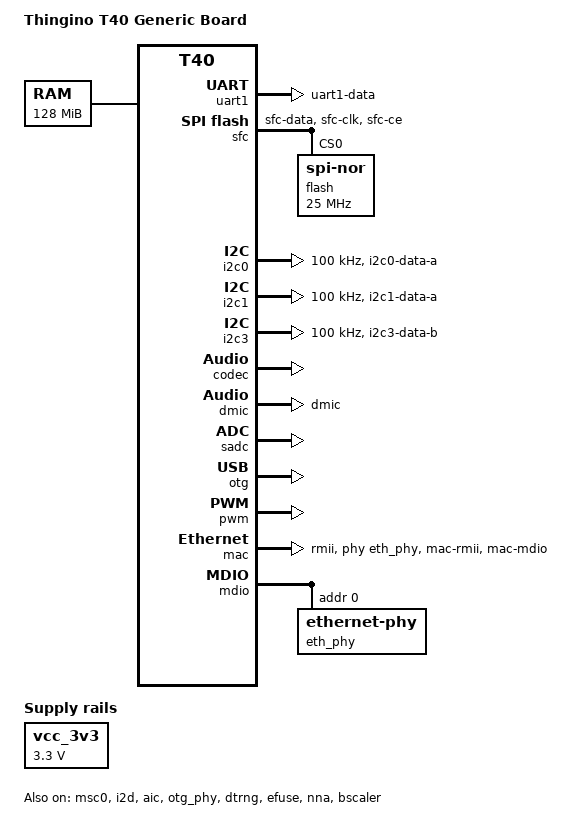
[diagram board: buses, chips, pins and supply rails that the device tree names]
// SPDX-License-Identifier: GPL-2.0
/dts-v1/;

#include "t40.dtsi"

/ {
	compatible = "thingino,t40", "ingenic,t40";
	model = "Thingino T40 Generic Board";

	aliases {
		i2c0 = &i2c0;
		i2c1 = &i2c1;
		i2c3 = &i2c3;
		mmc0 = &msc0;
		mmc1 = &msc1;
		serial1 = &uart1;
	};

	chosen {
		stdout-path = "serial1:115200n8";
	};

	/* the smallest RAM a T40 comes with; the boot loader's mem= has the real map */
	memory@0 {
		device_type = "memory";
		reg = <0x0 0x8000000>;
	};

	/* the 3.3 V rail of the USB PHY */
	vcc_3v3: regulator-3v3 {
		compatible = "regulator-fixed";
		regulator-name = "vcc-3v3";
		regulator-min-microvolt = <3300000>;
		regulator-max-microvolt = <3300000>;
		regulator-always-on;
	};

	/*
	 * The media memory of the out-of-tree camera stack, where thingino's
	 * U-Boot puts it on this RAM size; its rmem= places and enables it
	 */
	reserved-memory {
		#address-cells = <1>;
		#size-cells = <1>;
		ranges;

		rmem: rmem@4000000 {
			reg = <0x4000000 0x4000000>;
			no-map;
			status = "disabled";
		};

		/* the NNA's memory, where nmem= puts it */
		nmem: nmem@7000000 {
			reg = <0x7000000 0x1000000>;
			no-map;
			status = "disabled";
		};
	};
};

&exclk {
	clock-frequency = <24000000>;
};

&uart1 {
	status = "okay";

	pinctrl-names = "default";
	pinctrl-0 = <&pins_uart1>;
};

&sfc {
	status = "okay";

	pinctrl-names = "default";
	pinctrl-0 = <&pins_sfc>;

	/* partitions come from the mtdparts= the boot loader passes */
	flash@0 {
		compatible = "jedec,spi-nor";
		reg = <0>;
		spi-max-frequency = <25000000>;
	};
};

&msc0 {
	status = "okay";
	bus-width = <4>;
	max-frequency = <25000000>;
	broken-cd;
	no-1-8-v;

	pinctrl-names = "default";
	pinctrl-0 = <&pins_mmc0>;
};

/* The SDIO Wi-Fi sits on MSC1 (PB17 to PB22); enable it with its power sequence */
&msc1 {
	status = "disabled";
	bus-width = <4>;
	max-frequency = <25000000>;
	non-removable;
	no-1-8-v;

	pinctrl-names = "default";
	pinctrl-0 = <&pins_mmc1>, <&pins_mmc1_c_idle>;
};

&i2c0 {
	status = "okay";
	clock-frequency = <100000>;

	pinctrl-names = "default";
	pinctrl-0 = <&pins_i2c0>;
};

&i2c1 {
	status = "okay";
	clock-frequency = <100000>;

	pinctrl-names = "default";
	pinctrl-0 = <&pins_i2c1>;
};

&i2c3 {
	status = "okay";
	clock-frequency = <100000>;

	pinctrl-names = "default";
	pinctrl-0 = <&pins_i2c3>;
};

&isp {
	/* consumed by the out-of-tree ISP modules, not bound by a driver */
	pinctrl-names = "default";
	pinctrl-0 = <&pins_cim_mclk>;

	memory-region = <&rmem>;
};

&i2d {
	/* /dev/i2d (libimp rotation), bound by the out-of-tree i2d module */
	status = "okay";
};

&aic {
	status = "okay";
};

&codec {
	status = "okay";
};

/* left disabled: a profile with a DMIC enables it, the pins may be GPIOs elsewhere */
&dmic {
	pinctrl-names = "default";
	pinctrl-0 = <&pins_dmic>;
};

&sadc {
	status = "okay";
};

&otg_phy {
	status = "okay";

	vcc-supply = <&vcc_3v3>;
};

&otg {
	status = "okay";
	disable-over-current;
};

&dtrng {
	status = "okay";
};

/* The pins stay in GPIO mode until a board user selects a PWM pin group */
&pwm {
	status = "okay";
};

&efuse {
	status = "okay";
};

&mac {
	status = "okay";

	phy-mode = "rmii";
	phy-handle = <&eth_phy>;

	pinctrl-names = "default";
	pinctrl-0 = <&pins_mac>;
};

&mdio {
	eth_phy: ethernet-phy@0 {
		reg = <0>;
	};
};

&nna {
	status = "okay";
};

&bscaler {
	status = "okay";
};

&pinctrl {
	pins_uart1: uart1 {
		function = "uart1";
		groups = "uart1-data";
	};

	pins_sfc: sfc0 {
		function = "sfc";
		groups = "sfc-data", "sfc-clk", "sfc-ce";
	};

	pins_mmc0: mmc0 {
		function = "mmc0";
		groups = "mmc0-1bit", "mmc0-4bit";
	};

	pins_mmc1: mmc1 {
		function = "mmc1";
		groups = "mmc1-1bit-b", "mmc1-4bit-b";
	};

	/*
	 * MSC1 can also come out on PC8..PC13, and the boot loader may leave
	 * them muxed to it: as inputs they cannot take over CMD and DAT from
	 * the group in use
	 */
	pins_mmc1_c_idle: mmc1-c-idle {
		pins = "PC8", "PC9", "PC10", "PC11", "PC12", "PC13";
		input-enable;
	};

	pins_i2c0: i2c0 {
		function = "i2c0";
		groups = "i2c0-data-a";
	};

	pins_i2c1: i2c1 {
		function = "i2c1";
		groups = "i2c1-data-a";
	};

	pins_i2c3: i2c3 {
		function = "i2c3";
		groups = "i2c3-data-b";
	};

	pins_mac: mac {
		function = "mac";
		groups = "mac-rmii", "mac-mdio";
	};

	pins_dmic: dmic {
		function = "dmic";
		groups = "dmic";
	};

	/* the sensor's MCLK source is picked at run time: all three pads get the CIM function */
	pins_cim_mclk: cim-mclk {
		function = "cim";
		groups = "cim0-mclk", "cim1-mclk", "cim2-mclk";
	};
};
